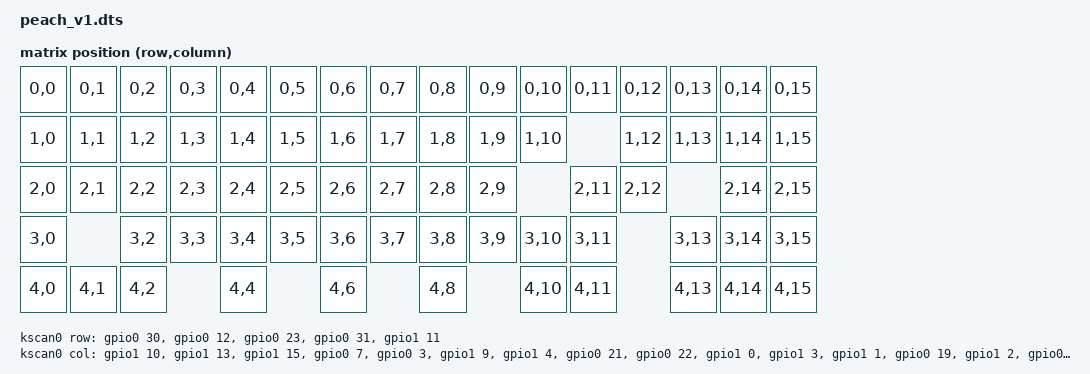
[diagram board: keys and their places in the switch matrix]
/*
* Copyright (c) 2021 The ZMK Contributors
*
* SPDX-License-Identifier: MIT
*/

/dts-v1/;
#include "peach.dtsi"


/ {
	chosen {
		zmk,kscan = &kscan0;
		zmk,matrix_transform = &default_transform;
		zmk,underglow = &led_strip;
	};

	default_transform: keymap_transform_0 {
		compatible = "zmk,matrix-transform";
		columns = <16>;
		rows = <5>;
		map = <
			RC(0,0) RC(0,1) RC(0,2) RC(0,3) RC(0,4) RC(0,5) RC(0,6) RC(0,7) RC(0,8) RC(0,9) RC(0,10) RC(0,11) RC(0,12)  RC(0,13) RC(0,14) RC(0,15)
			RC(1,0) RC(1,1) RC(1,2) RC(1,3) RC(1,4) RC(1,5) RC(1,6) RC(1,7) RC(1,8) RC(1,9) RC(1,10)          RC(1,12)  RC(1,13) RC(1,14) RC(1,15)
			RC(2,0) RC(2,1) RC(2,2) RC(2,3) RC(2,4) RC(2,5) RC(2,6) RC(2,7) RC(2,8) RC(2,9)          RC(2,11) RC(2,12)           RC(2,14) RC(2,15)
			RC(3,0)         RC(3,2) RC(3,3) RC(3,4) RC(3,5) RC(3,6) RC(3,7) RC(3,8) RC(3,9) RC(3,10) RC(3,11)           RC(3,13) RC(3,14) RC(3,15)
			RC(4,0) RC(4,1) RC(4,2)         RC(4,4)         RC(4,6)         RC(4,8)         RC(4,10) RC(4,11)           RC(4,13) RC(4,14) RC(4,15)
		>;
	};


	kscan0: kscan_0 {
		compatible = "zmk,kscan-gpio-matrix";
		label = "KSCAN";
		diode-direction = "col2row";

		col-gpios
			= <&gpio1 10 GPIO_ACTIVE_HIGH>
			, <&gpio1 13 GPIO_ACTIVE_HIGH>
			, <&gpio1 15 GPIO_ACTIVE_HIGH>
			, <&gpio0 7  GPIO_ACTIVE_HIGH>
			, <&gpio0 3  GPIO_ACTIVE_HIGH>
			, <&gpio1 9  GPIO_ACTIVE_HIGH>
			, <&gpio1 4  GPIO_ACTIVE_HIGH>
			, <&gpio0 21 GPIO_ACTIVE_HIGH>
			, <&gpio0 22 GPIO_ACTIVE_HIGH>
			, <&gpio1 0  GPIO_ACTIVE_HIGH>
			, <&gpio1 3  GPIO_ACTIVE_HIGH>
			, <&gpio1 1  GPIO_ACTIVE_HIGH>
			, <&gpio0 19 GPIO_ACTIVE_HIGH>
			, <&gpio1 2  GPIO_ACTIVE_HIGH>
			, <&gpio0 9  GPIO_ACTIVE_HIGH>
			, <&gpio0 10 GPIO_ACTIVE_HIGH>
			;

		row-gpios
			= <&gpio0 30 (GPIO_ACTIVE_HIGH | GPIO_PULL_DOWN)>
			, <&gpio0 12 (GPIO_ACTIVE_HIGH | GPIO_PULL_DOWN)>
			, <&gpio0 23 (GPIO_ACTIVE_HIGH | GPIO_PULL_DOWN)>
			, <&gpio0 31 (GPIO_ACTIVE_HIGH | GPIO_PULL_DOWN)>
			, <&gpio1 11 (GPIO_ACTIVE_HIGH | GPIO_PULL_DOWN)>
			;
	};

	leds {
		compatible = "gpio-leds";
		blue_led: led_0 {
			gpios = <&gpio1 6 GPIO_ACTIVE_HIGH>;
			label = "Blue LED";
		};
	};

	ext-power {
		compatible = "zmk,ext-power-generic";
		label = "EXT_POWER";
		control-gpios = <&gpio0 29 GPIO_ACTIVE_LOW>;
	};

	vbatt {
		compatible = "zmk,battery-voltage-divider";
		label = "BATTERY";
		io-channels = <&adc 3>;
		output-ohms = <10000000>;
		full-ohms = <(10000000 + 4000000)>;
	};
};

&spi1 {
  mosi-pin = <4>;
  // Unused pins, needed for SPI definition, but not used by the ws2812 driver itself.
  sck-pin = <6>;
  miso-pin = <8>;

  led_strip: ws2812@0 {
    compatible = "worldsemi,ws2812-spi";
    label = "WS2812";

    /* SPI */
    reg = <0>; /* ignored, but necessary for SPI bindings */
    spi-max-frequency = <4000000>;

    /* WS2812 */
    chain-length = <20>; /* number of LEDs */
    spi-one-frame = <0x70>;
    spi-zero-frame = <0x40>;
  };
};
